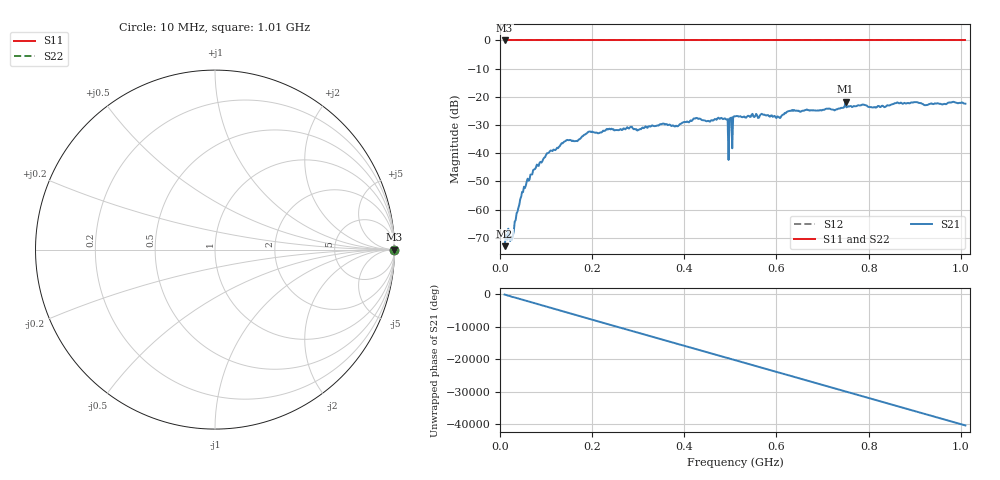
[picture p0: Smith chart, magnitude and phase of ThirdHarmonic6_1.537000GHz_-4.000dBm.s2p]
! 8/16/2025 6:12:43 PM
! C:\ANRITSUVNA\TEMP\TEMP.S2P
! CHANNEL.1
! TR.MEASUREMENT
! RAW.DATA
! RF.CORRECTION.OFF
! AVERAGING.OFF
! IF.BANDWIDTH: 5KHZ
! SWEEPTYPE:  FREQ.SWEEP(Linear)
! Reference Plane Port Info
! PORT:  PORT1  PORT2
! DISTANCE:  0  m  0  m
! TIME:  0  s  0  s
! PHASE.OFFSET:  0  deg.  0  deg.
! LOSS:  0  dB  0  dB
! REF.LOSS:  0  dB  0  dB
! REF.FREQ:  0  Hz  0  Hz
! Power Info
! POWER:  -20  dBm  -20  dBm
! EFF.POWER:  -20  dBm  -20  dBm
! SOURCE.ATTEN:  0  dB  0  dB
! TEST.ATTEN:  0  dB  0  dB
# GHZ S RI R 50.0
! FREQ.GHZ  S11RE  S11IM  S21RE  S21IM  S12RE  S12IM  S22RE  S22IM
!; PortSelection: Port_12
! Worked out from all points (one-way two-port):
!   501 points, 10 MHz to 1.01 GHz, reference 50 ohm
!   highest |S21| = -21.66 dB at 750 MHz (marker M1); lowest = -72.9 dB at 10 MHz (marker M2)
!   lowest |S11| = 0.0 dB at 10 MHz (marker M3)
!   |S11| at or under -10 dB: nowhere
!   |S22| runs from 0.0 to 0.0 dB; largest |S21 - S12| = 1.1
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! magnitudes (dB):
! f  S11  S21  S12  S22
! 10 MHz  0.0  -72.9  0.0  0.0
! 16 MHz  0.0  -70.7  0.0  0.0
! 26 MHz  0.0  -70.7  0.0  0.0
! 48 MHz  0.0  -53.7  0.0  0.0
! 76 MHz  0.0  -45.6  0.0  0.0
! 142 MHz  0.0  -35.7  0.0  0.0
! 178 MHz  0.0  -34.0  0.0  0.0
! 344 MHz  0.0  -30.2  0.0  0.0
! 484 MHz  0.0  -27.9  0.0  0.0
! 490 MHz  0.0  -27.9  0.0  0.0
! 492 MHz  0.0  -28.0  0.0  0.0
! 498 MHz  0.0  -27.7  0.0  0.0
! 500 MHz  0.0  -27.6  0.0  0.0
! 502 MHz  0.0  -27.3  0.0  0.0
! 508 MHz  0.0  -26.9  0.0  0.0
! 510 MHz  0.0  -26.9  0.0  0.0
! 604 MHz  0.0  -27.1  0.0  0.0
! 630 MHz  0.0  -24.9  0.0  0.0
! 678 MHz  0.0  -24.7  0.0  0.0
! 750 MHz  0.0  -21.7  0.0  0.0
! 844 MHz  0.0  -23.1  0.0  0.0
! 1.01 GHz  0.0  -22.4  0.0  0.0
